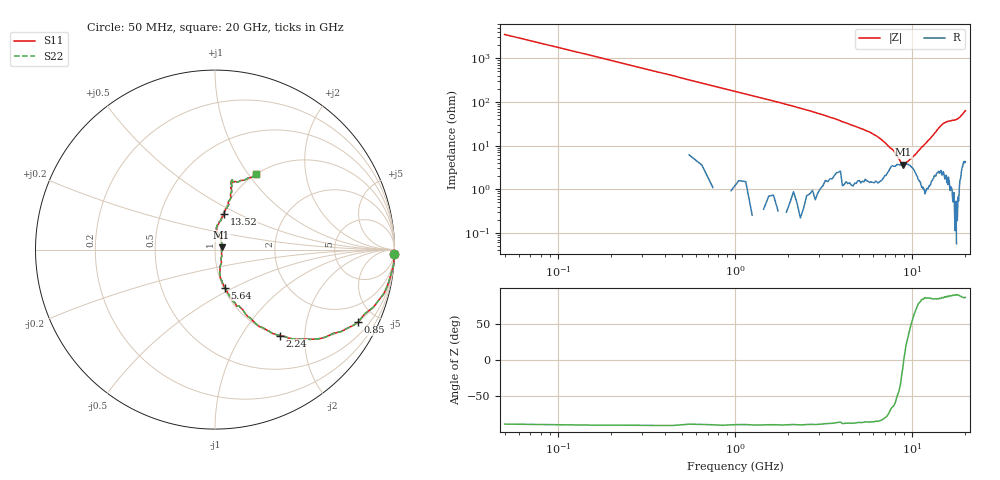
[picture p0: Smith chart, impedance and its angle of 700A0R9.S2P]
!  American Technical Ceramics  Date:  1/14/99
!  One Norden Lane
!  Huntington Station,  NY.  11746-2102
!  Tel:  (516) 547-5700  Fax:  (516) 547-5748
!  Part Number  700a0r9
!  Description: NPO, High Q, Temperature Stable
!  Application: Bypass, Coupling, Timing
!  Tuning, Blocking
# GHZ S DB R 50
! Freq  |S11|  S11 Ph  |S21|  S21 Ph  |S12|  S12 Ph  |S22|  S22 Ph
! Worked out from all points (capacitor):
!   201 points, 50 MHz to 20 GHz, reference 50 ohm
!   read as one part in series: C = 893 fF near 150 MHz
!   lowest |Z| = 3.67 ohm at 8.93 GHz (marker M1)
!   series resonance near 8.981 GHz, so ESL is about 350 pH
!   S11 on the Smith chart (normalised r, x): 50 MHz: 6, -74; 850 MHz: 0.99, -3.95; 2.24 GHz: 1.01, -1.51; 5.64 GHz: 1.01, -0.45; 13.52 GHz: 1.02, +0.43; 20 GHz: 0.99, +1.09
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0.05  -0.02 -1.5  -30.93 87.2  -30.93 87.2  -0.02 -1.5
0.15  -0.01 -4.9  -21.53 85.3  -21.53 85.3  -0.01 -4.9
0.25  -0.09 -8.2  -17.12 82.1  -17.12 82.1  -0.09 -8.2
0.55  -0.39 -17.0  -10.46 71.8  -10.46 71.8  -0.39 -17.0
0.85  -0.98 -26.9  -7.27 63.6  -7.27 63.6  -0.98 -26.9
1.55  -2.52 -41.8  -3.50 47.6  -3.50 47.6  -2.52 -41.8
2.24  -4.42 -52.8  -1.96 36.7  -1.96 36.7  -4.42 -52.8
3.44  -7.90 -64.3  -0.91 23.4  -0.91 23.4  -7.90 -64.3
5.64  -13.22 -75.5  -0.34 10.6  -0.34 10.6  -13.22 -75.5
6.73  -16.87 -78.4  -0.26 6.8  -0.26 6.8  -16.87 -78.4
7.73  -21.91 -62.8  -0.33 4.0  -0.33 4.0  -21.91 -62.8
8.63  -28.54 -14.5  -0.29 1.9  -0.29 1.9  -28.54 -14.5
8.93  -28.29 18.4  -0.30 1.0  -0.30 1.0  -28.29 18.4
9.33  -25.74 43.2  -0.32 0.2  -0.32 0.2  -25.74 43.2
10.03  -23.03 65.4  -0.30 -1.0  -0.30 -1.0  -23.03 65.4
11.82  -18.27 86.7  -0.24 -5.3  -0.24 -5.3  -18.27 86.7
13.42  -14.09 75.8  -0.40 -9.9  -0.40 -9.9  -14.09 75.8
13.52  -13.70 75.4  -0.39 -10.0  -0.39 -10.0  -13.70 75.4
14.91  -9.60 74.4  -0.80 -13.9  -0.80 -13.9  -9.60 74.4
16.71  -8.08 76.3  -1.13 -15.9  -1.13 -15.9  -8.08 76.3
18.3  -8.05 73.6  -1.30 -21.4  -1.30 -21.4  -8.05 73.6
20  -6.36 61.5  -2.58 -31.3  -2.58 -31.3  -6.36 61.5
